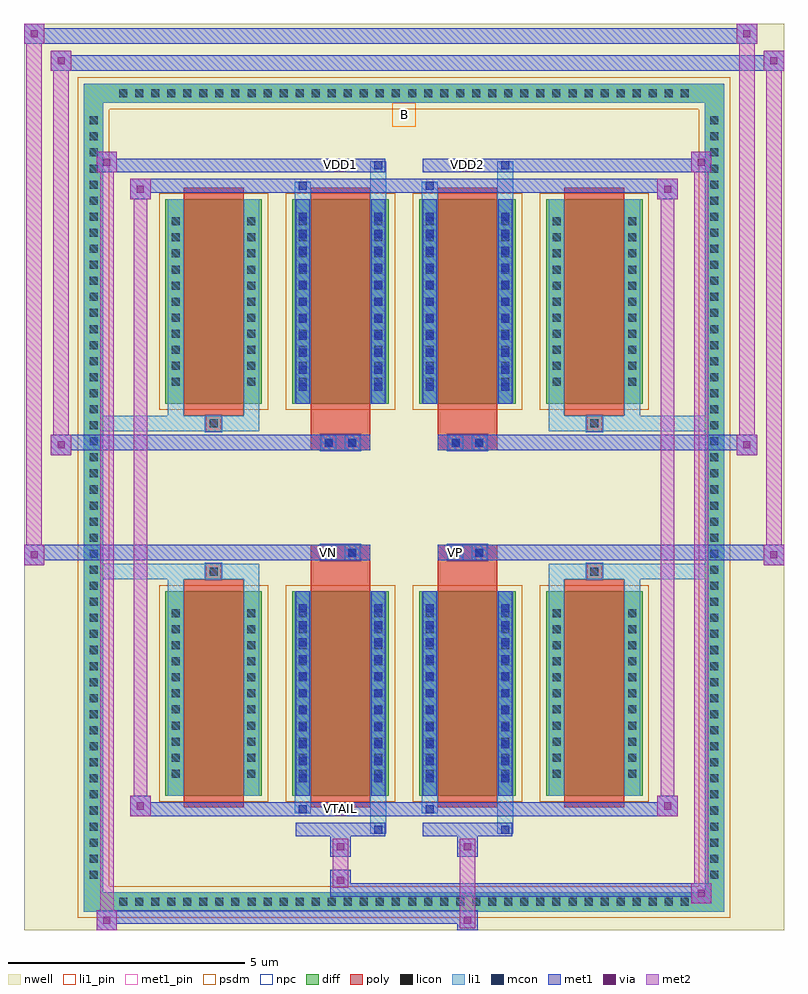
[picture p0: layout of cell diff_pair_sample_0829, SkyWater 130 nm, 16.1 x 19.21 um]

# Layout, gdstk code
import gdstk
lib = gdstk.Library(unit=1e-6, precision=5e-09)
def R(c, l, rs):  # rectangles x0, y0, x1, y1
    for r in rs: c.add(gdstk.rectangle(r[:2], r[2:], *l))
def A(c, l, x, y, w, h, nx, ny, dx, dy):  # array of equal rectangles
    R(c, l, [(x+i*dx, y+j*dy, x+i*dx+w, y+j*dy+h) for i in range(nx) for j in range(ny)])
def P(c, l, *ps):  # polygons
    for p in ps: c.add(gdstk.Polygon(p, *l))
nwell = (64, 20)
diff = (65, 20)
poly = (66, 20)
licon = (66, 44)
li1_pin = (67, 16)
li1 = (67, 20)
mcon = (67, 44)
met1_pin = (68, 16)
met1 = (68, 20)
via = (68, 44)
met2 = (69, 20)
psdm = (94, 20)
npc = (95, 20)

diff_pair_sample_0829 = lib.new_cell('diff_pair_sample_0829')
R(diff_pair_sample_0829, nwell, [(-8.05,-9.17,8.05,10.04), (-5.37,-7.36,-0.01,-0.8), (0.01,-7.36,5.37,-0.8), (-5.37,0.8,-0.01,7.36), (0.01,0.8,5.37,7.36)])
A(diff_pair_sample_0829, diff, -6.155, -8.77, 0.41, 0.41, 36, 2, 0.34, 17.13)
A(diff_pair_sample_0829, diff, -6.78, -8.195, 0.41, 0.41, 1, 48, 0, 0.34)
A(diff_pair_sample_0829, diff, 6.37, -8.195, 0.41, 0.41, 1, 48, 0, 0.34)
A(diff_pair_sample_0829, diff, -5.06, -6.315, 2.05, 4.33, 4, 2, 2.69, 8.3)
R(diff_pair_sample_0829, diff, [(-6.155,-8.77,6.155,-8.36), (-6.78,-8.195,-6.37,8.195), (6.37,-8.195,6.78,8.195), (-6.155,8.36,6.155,8.77)])
P(diff_pair_sample_0829, diff, [(6.78,8.77),(-6.78,8.77),(-6.78,-8.36),(-6.37,-8.36),(-6.37,8.36),(6.37,8.36),(6.37,-8.36),(-6.37,-8.36),(-6.78,-8.36),(-6.78,-8.77),(6.78,-8.77)])
A(diff_pair_sample_0829, poly, -4.67, -6.565, 1.27, 4.83, 4, 2, 2.69, 8.3)
R(diff_pair_sample_0829, poly, [(-4.2,-1.735,-3.87,-1.405), (-4.2,-1.735,-3.87,-1.405), (-1.98,-1.735,-0.71,-1.33), (0.71,-1.735,1.98,-1.33), (3.87,-1.735,4.2,-1.405), (3.87,-1.735,4.2,-1.405), (-1.98,-1.33,-0.71,-1), (-1.76,-1.33,-1.43,-1), (-1.26,-1.33,-0.93,-1), (0.71,-1.33,1.98,-1), (0.93,-1.33,1.26,-1), (1.43,-1.33,1.76,-1), (-1.98,1,-0.71,1.33), (-1.76,1,-1.43,1.33), (-1.26,1,-0.93,1.33), (0.71,1,1.98,1.33), (0.93,1,1.26,1.33), (1.43,1,1.76,1.33), (-1.98,1.33,-0.71,1.735), (0.71,1.33,1.98,1.735), (-4.2,1.405,-3.87,1.735), (-4.2,1.405,-3.87,1.735), (3.87,1.405,4.2,1.735), (3.87,1.405,4.2,1.735)])
A(diff_pair_sample_0829, licon, -6.035, -8.65, 0.17, 0.17, 36, 2, 0.34, 17.13)
A(diff_pair_sample_0829, licon, -6.66, -8.075, 0.17, 0.17, 1, 48, 0, 0.34)
A(diff_pair_sample_0829, licon, 6.49, -8.075, 0.17, 0.17, 1, 48, 0, 0.34)
A(diff_pair_sample_0829, licon, -4.92, -5.935, 0.17, 0.17, 1, 11, 0, 0.34)
A(diff_pair_sample_0829, licon, -3.32, -5.935, 0.17, 0.17, 1, 11, 0, 0.34)
A(diff_pair_sample_0829, licon, -2.23, -5.935, 0.17, 0.17, 1, 11, 0, 0.34)
A(diff_pair_sample_0829, licon, -0.63, -5.935, 0.17, 0.17, 1, 11, 0, 0.34)
A(diff_pair_sample_0829, licon, 0.46, -5.935, 0.17, 0.17, 1, 11, 0, 0.34)
A(diff_pair_sample_0829, licon, 2.06, -5.935, 0.17, 0.17, 1, 11, 0, 0.34)
A(diff_pair_sample_0829, licon, 3.15, -5.935, 0.17, 0.17, 1, 11, 0, 0.34)
A(diff_pair_sample_0829, licon, 4.75, -5.935, 0.17, 0.17, 1, 11, 0, 0.34)
A(diff_pair_sample_0829, licon, -4.92, 2.365, 0.17, 0.17, 1, 11, 0, 0.34)
A(diff_pair_sample_0829, licon, -3.32, 2.365, 0.17, 0.17, 1, 11, 0, 0.34)
A(diff_pair_sample_0829, licon, -2.23, 2.365, 0.17, 0.17, 1, 11, 0, 0.34)
A(diff_pair_sample_0829, licon, -0.63, 2.365, 0.17, 0.17, 1, 11, 0, 0.34)
A(diff_pair_sample_0829, licon, 0.46, 2.365, 0.17, 0.17, 1, 11, 0, 0.34)
A(diff_pair_sample_0829, licon, 2.06, 2.365, 0.17, 0.17, 1, 11, 0, 0.34)
A(diff_pair_sample_0829, licon, 3.15, 2.365, 0.17, 0.17, 1, 11, 0, 0.34)
A(diff_pair_sample_0829, licon, 4.75, 2.365, 0.17, 0.17, 1, 11, 0, 0.34)
R(diff_pair_sample_0829, licon, [(-4.12,-1.655,-3.95,-1.485), (3.95,-1.655,4.12,-1.485), (-1.68,-1.25,-1.51,-1.08), (-1.18,-1.25,-1.01,-1.08), (1.01,-1.25,1.18,-1.08), (1.51,-1.25,1.68,-1.08), (-1.68,1.08,-1.51,1.25), (-1.18,1.08,-1.01,1.25), (1.01,1.08,1.18,1.25), (1.51,1.08,1.68,1.25), (-4.12,1.485,-3.95,1.655), (3.95,1.485,4.12,1.655)])
R(diff_pair_sample_0829, li1_pin, [(-0.25,7.86,0.25,8.36)])
A(diff_pair_sample_0829, li1, -6.115, -8.73, 0.33, 0.33, 36, 2, 0.34, 17.13)
A(diff_pair_sample_0829, li1, -6.74, -8.155, 0.33, 0.33, 1, 48, 0, 0.34)
A(diff_pair_sample_0829, li1, 6.41, -8.155, 0.33, 0.33, 1, 48, 0, 0.34)
A(diff_pair_sample_0829, li1, -2.23, -6.035, 0.17, 0.17, 1, 11, 0, 0.36)
A(diff_pair_sample_0829, li1, -0.63, -6.035, 0.17, 0.17, 1, 11, 0, 0.36)
A(diff_pair_sample_0829, li1, 0.46, -6.035, 0.17, 0.17, 1, 11, 0, 0.36)
A(diff_pair_sample_0829, li1, 2.06, -6.035, 0.17, 0.17, 1, 11, 0, 0.36)
A(diff_pair_sample_0829, li1, -5, -6.015, 0.33, 0.33, 1, 11, 0, 0.34)
A(diff_pair_sample_0829, li1, -3.4, -6.015, 0.33, 0.33, 1, 11, 0, 0.34)
A(diff_pair_sample_0829, li1, -2.31, -6.015, 0.33, 0.33, 1, 11, 0, 0.34)
A(diff_pair_sample_0829, li1, -0.71, -6.015, 0.33, 0.33, 1, 11, 0, 0.34)
A(diff_pair_sample_0829, li1, 0.38, -6.015, 0.33, 0.33, 1, 11, 0, 0.34)
A(diff_pair_sample_0829, li1, 1.98, -6.015, 0.33, 0.33, 1, 11, 0, 0.34)
A(diff_pair_sample_0829, li1, 3.07, -6.015, 0.33, 0.33, 1, 11, 0, 0.34)
A(diff_pair_sample_0829, li1, 4.67, -6.015, 0.33, 0.33, 1, 11, 0, 0.34)
A(diff_pair_sample_0829, li1, -2.23, 2.265, 0.17, 0.17, 1, 11, 0, 0.36)
A(diff_pair_sample_0829, li1, -0.63, 2.265, 0.17, 0.17, 1, 11, 0, 0.36)
A(diff_pair_sample_0829, li1, 0.46, 2.265, 0.17, 0.17, 1, 11, 0, 0.36)
A(diff_pair_sample_0829, li1, 2.06, 2.265, 0.17, 0.17, 1, 11, 0, 0.36)
A(diff_pair_sample_0829, li1, -5, 2.285, 0.33, 0.33, 1, 11, 0, 0.34)
A(diff_pair_sample_0829, li1, -3.4, 2.285, 0.33, 0.33, 1, 11, 0, 0.34)
A(diff_pair_sample_0829, li1, -2.31, 2.285, 0.33, 0.33, 1, 11, 0, 0.34)
A(diff_pair_sample_0829, li1, -0.71, 2.285, 0.33, 0.33, 1, 11, 0, 0.34)
A(diff_pair_sample_0829, li1, 0.38, 2.285, 0.33, 0.33, 1, 11, 0, 0.34)
A(diff_pair_sample_0829, li1, 1.98, 2.285, 0.33, 0.33, 1, 11, 0, 0.34)
A(diff_pair_sample_0829, li1, 3.07, 2.285, 0.33, 0.33, 1, 11, 0, 0.34)
A(diff_pair_sample_0829, li1, 4.67, 2.285, 0.33, 0.33, 1, 11, 0, 0.34)
R(diff_pair_sample_0829, li1, [(-6.78,-8.77,-6.37,-8.36), (-6.78,-8.77,-6.37,-8.36), (-6.37,-8.77,6.37,-8.36), (6.37,-8.77,6.78,-8.36), (6.37,-8.77,6.78,-8.36), (-6.78,-8.36,-6.37,8.36), (6.37,-8.36,6.78,8.36), (-0.71,-7.12,-0.38,-6.315), (-0.63,-7.12,-0.46,-6.95), (1.98,-7.12,2.31,-6.315), (2.06,-7.12,2.23,-6.95), (-2.31,-6.69,-1.98,-6.315), (-2.23,-6.69,-2.06,-6.52), (0.38,-6.69,0.71,-6.315), (0.46,-6.69,0.63,-6.52), (-5,-6.315,-4.67,-1.985), (-3.4,-6.315,-3.07,-1.985), (-2.31,-6.315,-1.98,-1.985), (-0.71,-6.315,-0.38,-1.985), (0.38,-6.315,0.71,-1.985), (1.98,-6.315,2.31,-1.985), (3.07,-6.315,3.4,-1.985), (4.67,-6.315,5,-1.985), (-2.23,-6.035,-2.06,-2.265), (-0.63,-6.035,-0.46,-2.265), (0.46,-6.035,0.63,-2.265), (2.06,-6.035,2.23,-2.265), (-5,-1.985,-4.67,-1.405), (-3.4,-1.985,-3.07,-1.405), (3.07,-1.985,3.4,-1.405), (4.67,-1.985,5,-1.405), (-6.78,-1.735,-4.2,-1.405), (-5,-1.735,-4.2,-1.405), (-4.2,-1.735,-3.87,-1.405), (-3.87,-1.735,-3.07,-1.405), (3.07,-1.735,3.87,-1.405), (3.87,-1.735,4.2,-1.405), (3.87,-1.735,6.78,-1.405), (4.2,-1.735,5,-1.405), (-1.76,-1.33,-1.43,-1), (-1.26,-1.33,-0.93,-1), (0.93,-1.33,1.26,-1), (1.43,-1.33,1.76,-1), (-1.76,1,-1.43,1.33), (-1.26,1,-0.93,1.33), (0.93,1,1.26,1.33), (1.43,1,1.76,1.33), (-6.78,1.405,-4.2,1.735), (-5,1.405,-4.2,1.735), (-5,1.405,-4.67,1.985), (-4.2,1.405,-3.87,1.735), (-3.87,1.405,-3.07,1.735), (-3.4,1.405,-3.07,1.985), (3.07,1.405,3.87,1.735), (3.07,1.405,3.4,1.985), (3.87,1.405,4.2,1.735), (3.87,1.405,6.78,1.735), (4.2,1.405,5,1.735), (4.67,1.405,5,1.985), (-5,1.985,-4.67,6.315), (-3.4,1.985,-3.07,6.315), (-2.31,1.985,-1.98,6.315), (-0.71,1.985,-0.38,6.315), (0.38,1.985,0.71,6.315), (1.98,1.985,2.31,6.315), (3.07,1.985,3.4,6.315), (4.67,1.985,5,6.315), (-2.23,2.265,-2.06,6.035), (-0.63,2.265,-0.46,6.035), (0.46,2.265,0.63,6.035), (2.06,2.265,2.23,6.035), (-2.31,6.315,-1.98,6.69), (-0.71,6.315,-0.38,7.12), (0.38,6.315,0.71,6.69), (1.98,6.315,2.31,7.12), (-2.23,6.52,-2.06,6.69), (0.46,6.52,0.63,6.69), (-0.63,6.95,-0.46,7.12), (2.06,6.95,2.23,7.12), (-6.78,8.36,-6.37,8.77), (-6.78,8.36,-6.37,8.77), (-6.37,8.36,6.37,8.77), (6.37,8.36,6.78,8.77), (6.37,8.36,6.78,8.77)])
A(diff_pair_sample_0829, mcon, -2.23, -6.035, 0.17, 0.17, 1, 11, 0, 0.36)
A(diff_pair_sample_0829, mcon, -0.63, -6.035, 0.17, 0.17, 1, 11, 0, 0.36)
A(diff_pair_sample_0829, mcon, 0.46, -6.035, 0.17, 0.17, 1, 11, 0, 0.36)
A(diff_pair_sample_0829, mcon, 2.06, -6.035, 0.17, 0.17, 1, 11, 0, 0.36)
A(diff_pair_sample_0829, mcon, -2.23, 2.265, 0.17, 0.17, 1, 11, 0, 0.36)
A(diff_pair_sample_0829, mcon, -0.63, 2.265, 0.17, 0.17, 1, 11, 0, 0.36)
A(diff_pair_sample_0829, mcon, 0.46, 2.265, 0.17, 0.17, 1, 11, 0, 0.36)
A(diff_pair_sample_0829, mcon, 2.06, 2.265, 0.17, 0.17, 1, 11, 0, 0.36)
R(diff_pair_sample_0829, mcon, [(-0.63,-7.12,-0.46,-6.95), (2.06,-7.12,2.23,-6.95), (-2.23,-6.69,-2.06,-6.52), (0.46,-6.69,0.63,-6.52), (-1.68,-1.25,-1.51,-1.08), (-1.18,-1.25,-1.01,-1.08), (1.01,-1.25,1.18,-1.08), (1.51,-1.25,1.68,-1.08), (-1.68,1.08,-1.51,1.25), (-1.18,1.08,-1.01,1.25), (1.01,1.08,1.18,1.25), (1.51,1.08,1.68,1.25), (-2.23,6.52,-2.06,6.69), (0.46,6.52,0.63,6.69), (-0.63,6.95,-0.46,7.12), (2.06,6.95,2.23,7.12)])
R(diff_pair_sample_0829, met1_pin, [(-1.48,-6.73,-1.21,-6.46), (-1.73,-1.29,-1.46,-1.02), (0.96,-1.29,1.23,-1.02), (-1.48,6.91,-1.21,7.18), (1.21,6.91,1.48,7.18)])
A(diff_pair_sample_0829, met1, -2.29, -6.095, 0.29, 0.29, 1, 11, 0, 0.36)
A(diff_pair_sample_0829, met1, -0.69, -6.095, 0.29, 0.29, 1, 11, 0, 0.36)
A(diff_pair_sample_0829, met1, 0.4, -6.095, 0.29, 0.29, 1, 11, 0, 0.36)
A(diff_pair_sample_0829, met1, 2, -6.095, 0.29, 0.29, 1, 11, 0, 0.36)
A(diff_pair_sample_0829, met1, -2.29, 2.205, 0.29, 0.29, 1, 11, 0, 0.36)
A(diff_pair_sample_0829, met1, -0.69, 2.205, 0.29, 0.29, 1, 11, 0, 0.36)
A(diff_pair_sample_0829, met1, 0.4, 2.205, 0.29, 0.29, 1, 11, 0, 0.36)
A(diff_pair_sample_0829, met1, 2, 2.205, 0.29, 0.29, 1, 11, 0, 0.36)
R(diff_pair_sample_0829, met1, [(-6.51,-9.17,-6.08,-8.74), (1.13,-9.17,1.56,-8.74), (-6.51,-9.03,1.56,-8.74), (6.08,-8.6,6.51,-8.17), (-1.56,-8.46,6.51,-8.17), (-1.56,-8.32,-1.13,-7.89), (-1.56,-7.61,-1.13,-7.18), (1.13,-7.61,1.56,-7.18), (-2.29,-7.18,-0.4,-6.89), (-0.69,-7.18,-0.4,-6.89), (0.4,-7.18,2.29,-6.89), (2,-7.18,2.29,-6.89), (-5.8,-6.75,-5.37,-6.32), (-5.8,-6.75,-2.29,-6.46), (-2.29,-6.75,-2,-6.46), (-2.29,-6.75,-0.4,-6.46), (-0.4,-6.75,0.4,-6.46), (0.4,-6.75,0.69,-6.46), (0.4,-6.75,2.29,-6.46), (2.29,-6.75,5.8,-6.46), (5.37,-6.75,5.8,-6.32), (-2.29,-6.315,-2,-1.985), (-0.69,-6.315,-0.4,-1.985), (0.4,-6.315,0.69,-1.985), (2,-6.315,2.29,-1.985), (-8.05,-1.43,-7.62,-1), (7.62,-1.43,8.05,-1), (-8.05,-1.33,-0.71,-1), (-1.98,-1.33,-0.71,-1), (0.71,-1.33,1.98,-1), (0.71,-1.33,8.05,-1), (-1.74,-1.31,-1.45,-1.02), (-1.24,-1.31,-0.95,-1.02), (0.95,-1.31,1.24,-1.02), (1.45,-1.31,1.74,-1.02), (-7.48,0.9,-7.05,1.33), (7.05,0.9,7.48,1.33), (-7.48,1,-1.98,1.33), (-1.98,1,-0.71,1.33), (0.71,1,1.98,1.33), (1.98,1,7.48,1.33), (-1.74,1.02,-1.45,1.31), (-1.24,1.02,-0.95,1.31), (0.95,1.02,1.24,1.31), (1.45,1.02,1.74,1.31), (-2.29,1.985,-2,6.315), (-0.69,1.985,-0.4,6.315), (0.4,1.985,0.69,6.315), (2,1.985,2.29,6.315), (-5.8,6.32,-5.37,6.75), (5.37,6.32,5.8,6.75), (-5.8,6.46,-2.29,6.75), (-2.29,6.46,-2,6.75), (-2.29,6.46,-0.4,6.75), (-0.4,6.46,0.4,6.75), (0.4,6.46,0.69,6.75), (0.4,6.46,2.29,6.75), (2.29,6.46,5.8,6.75), (-6.51,6.89,-6.08,7.32), (-6.51,6.89,-2.29,7.18), (-2.29,6.89,-0.4,7.18), (-0.69,6.89,-0.4,7.18), (0.4,6.89,2.29,7.18), (2,6.89,2.29,7.18), (2.29,6.89,6.51,7.18), (6.08,6.89,6.51,7.32), (-7.48,9.04,-7.05,9.47), (-7.48,9.04,-5.37,9.37), (-5.37,9.04,5.37,9.37), (5.37,9.04,8.05,9.37), (7.62,9.04,8.05,9.47), (-8.05,9.61,-7.62,10.04), (-8.05,9.61,-5.37,9.94), (-5.37,9.61,5.37,9.94), (5.37,9.61,7.48,9.94), (7.05,9.61,7.48,10.04)])
R(diff_pair_sample_0829, via, [(-6.37,-9.03,-6.22,-8.88), (1.27,-9.03,1.42,-8.88), (6.22,-8.46,6.37,-8.31), (-1.42,-8.18,-1.27,-8.03), (-1.42,-7.47,-1.27,-7.32), (1.27,-7.47,1.42,-7.32), (-5.66,-6.61,-5.51,-6.46), (5.51,-6.61,5.66,-6.46), (-7.91,-1.29,-7.76,-1.14), (7.76,-1.29,7.91,-1.14), (-7.34,1.04,-7.19,1.19), (7.19,1.04,7.34,1.19), (-5.66,6.46,-5.51,6.61), (5.51,6.46,5.66,6.61), (-6.37,7.03,-6.22,7.18), (6.22,7.03,6.37,7.18), (-7.34,9.18,-7.19,9.33), (7.76,9.18,7.91,9.33), (-7.91,9.75,-7.76,9.9), (7.19,9.75,7.34,9.9)])
R(diff_pair_sample_0829, met2, [(-6.51,-9.17,-6.08,-8.74), (-6.44,-9.17,-6.15,7.32), (-6.15,-9.17,-6.08,-8.74), (-6.46,-9.12,-6.13,-8.79), (1.18,-9.12,1.51,-8.79), (1.18,-8.79,1.51,-7.56), (6.08,-8.6,6.51,-8.17), (6.15,-8.6,6.44,7.32), (6.44,-8.6,6.51,-8.17), (6.13,-8.55,6.46,-8.22), (-1.51,-8.27,-1.18,-7.94), (-1.51,-7.94,-1.18,-7.56), (-1.51,-7.56,-1.18,-7.23), (1.18,-7.56,1.51,-7.23), (-5.8,-6.75,-5.37,-6.32), (-5.73,-6.75,-5.44,6.75), (-5.44,-6.75,-5.37,-6.32), (5.37,-6.75,5.8,-6.32), (5.44,-6.75,5.73,6.75), (5.73,-6.75,5.8,-6.32), (-5.75,-6.7,-5.42,-6.37), (5.42,-6.7,5.75,-6.37), (-8.05,-1.43,-7.62,-1), (-8,-1.43,-7.67,10.04), (-7.67,-1.43,-7.62,-1), (7.62,-1.43,8.05,-1), (7.67,-1.43,8,9.47), (8,-1.43,8.05,-1), (-8,-1.38,-7.67,-1.05), (7.67,-1.38,8,-1.05), (-7.48,0.9,-7.05,1.33), (-7.43,0.9,-7.1,9.47), (-7.1,0.9,-7.05,1.33), (7.05,0.9,7.48,1.33), (7.1,0.9,7.43,10.04), (7.43,0.9,7.48,1.33), (-7.43,0.95,-7.1,1.28), (7.1,0.95,7.43,1.28), (-5.8,6.32,-5.37,6.75), (-5.44,6.32,-5.37,6.75), (5.37,6.32,5.8,6.75), (5.73,6.32,5.8,6.75), (-5.75,6.37,-5.42,6.7), (5.42,6.37,5.75,6.7), (-6.51,6.89,-6.08,7.32), (-6.15,6.89,-6.08,7.32), (6.08,6.89,6.51,7.32), (6.44,6.89,6.51,7.32), (-6.46,6.94,-6.13,7.27), (6.13,6.94,6.46,7.27), (-7.48,9.04,-7.05,9.47), (-7.1,9.04,-7.05,9.47), (7.62,9.04,8.05,9.47), (8,9.04,8.05,9.47), (-7.43,9.09,-7.1,9.42), (7.67,9.09,8,9.42), (-8.05,9.61,-7.62,10.04), (-7.67,9.61,-7.62,10.04), (7.05,9.61,7.48,10.04), (7.43,9.61,7.48,10.04), (-8,9.66,-7.67,9.99), (7.1,9.66,7.43,9.99)])
A(diff_pair_sample_0829, psdm, -5.19, -6.445, 2.31, 4.59, 4, 2, 2.69, 8.3)
P(diff_pair_sample_0829, psdm, [(6.91,8.9),(-6.91,8.9),(-6.91,-8.23),(-6.24,-8.23),(-6.24,8.23),(6.24,8.23),(6.24,-8.23),(-6.24,-8.23),(-6.91,-8.23),(-6.91,-8.9),(6.91,-8.9)])
R(diff_pair_sample_0829, npc, [(-4.22,-1.755,-3.85,-1.385), (3.85,-1.755,4.22,-1.385), (-1.78,-1.35,-1.41,-0.98), (-1.78,-1.35,-0.91,-0.98), (-1.78,-1.35,-0.91,-0.98), (-1.28,-1.35,-0.91,-0.98), (0.91,-1.35,1.28,-0.98), (0.91,-1.35,1.78,-0.98), (0.91,-1.35,1.78,-0.98), (1.41,-1.35,1.78,-0.98), (-1.78,0.98,-1.41,1.35), (-1.78,0.98,-0.91,1.35), (-1.78,0.98,-0.91,1.35), (-1.28,0.98,-0.91,1.35), (0.91,0.98,1.28,1.35), (0.91,0.98,1.78,1.35), (0.91,0.98,1.78,1.35), (1.41,0.98,1.78,1.35), (-4.22,1.385,-3.85,1.755), (3.85,1.385,4.22,1.755)])
diff_pair_sample_0829.add(gdstk.Label('VTAIL', (-1.345,-6.595), layer=68, texttype=5))
diff_pair_sample_0829.add(gdstk.Label('VN', (-1.595,-1.155), layer=68, texttype=5))
diff_pair_sample_0829.add(gdstk.Label('VP', (1.095,-1.155), layer=68, texttype=5))
diff_pair_sample_0829.add(gdstk.Label('B', (0,8.11), layer=67, texttype=5))
diff_pair_sample_0829.add(gdstk.Label('VDD2', (1.345,7.045), layer=68, texttype=5))
diff_pair_sample_0829.add(gdstk.Label('VDD1', (-1.345,7.045), layer=68, texttype=5))

lib.write_gds('diff_pair_sample_0829.gds')
